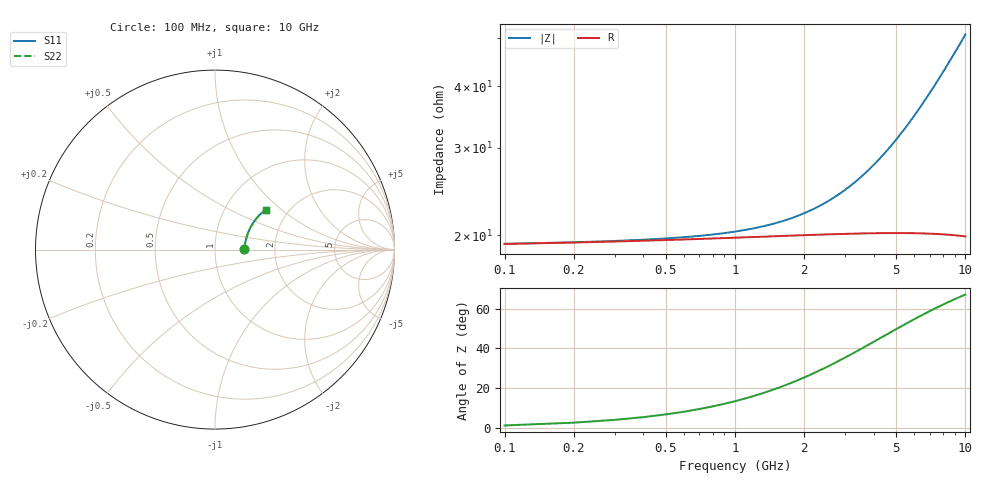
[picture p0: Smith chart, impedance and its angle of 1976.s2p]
# Hz S RI R 50.00
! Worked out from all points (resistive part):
!   100 points, 100 MHz to 10 GHz, reference 50 ohm
!   read as one part in series: R = 19.2 ohm at 100 MHz
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1e8  0.161 0.00274  0.839 -0.00395  0.839 -0.00395  0.161 0.00274
2e8  0.1619 0.00546  0.8381 -0.00788  0.8381 -0.00788  0.1619 0.00546
4e8  0.1632 0.0109  0.8367 -0.0157  0.8367 -0.0157  0.1632 0.0109
8e8  0.1653 0.0216  0.8346 -0.0313  0.8346 -0.0313  0.1653 0.0216
1.1e9  0.1668 0.0297  0.8331 -0.043  0.8331 -0.043  0.1668 0.0297
1.4e9  0.1684 0.0376  0.8315 -0.0546  0.8315 -0.0546  0.1684 0.0376
1.8e9  0.1707 0.0482  0.8291 -0.07  0.8291 -0.07  0.1707 0.0482
2.1e9  0.1726 0.056  0.8271 -0.0814  0.8271 -0.0814  0.1726 0.056
2.5e9  0.1754 0.0663  0.8241 -0.0966  0.8241 -0.0966  0.1754 0.0663
2.9e9  0.1785 0.0765  0.8208 -0.1117  0.8208 -0.1117  0.1785 0.0765
3.4e9  0.1828 0.0891  0.8162 -0.1303  0.8162 -0.1303  0.1828 0.0891
4.2e9  0.1908 0.1086  0.8077 -0.1596  0.8077 -0.1596  0.1908 0.1086
5.1e9  0.2014 0.1297  0.7965 -0.1916  0.7965 -0.1916  0.2014 0.1297
5.9e9  0.212 0.1475  0.7852 -0.2191  0.7852 -0.2191  0.212 0.1475
6.7e9  0.2238 0.1643  0.7726 -0.2457  0.7726 -0.2457  0.2238 0.1643
7.2e9  0.2316 0.1743  0.7642 -0.2617  0.7642 -0.2617  0.2316 0.1743
7.6e9  0.2382 0.1819  0.7571 -0.2743  0.7571 -0.2743  0.2382 0.1819
8e9  0.245 0.1893  0.7498 -0.2866  0.7498 -0.2866  0.245 0.1893
8.4e9  0.252 0.1964  0.7423 -0.2986  0.7423 -0.2986  0.252 0.1964
8.8e9  0.2592 0.2032  0.7345 -0.3103  0.7345 -0.3103  0.2592 0.2032
9.2e9  0.2666 0.2097  0.7266 -0.3217  0.7266 -0.3217  0.2666 0.2097
1e10  0.2819 0.2218  0.71 -0.3436  0.71 -0.3436  0.2819 0.2218
